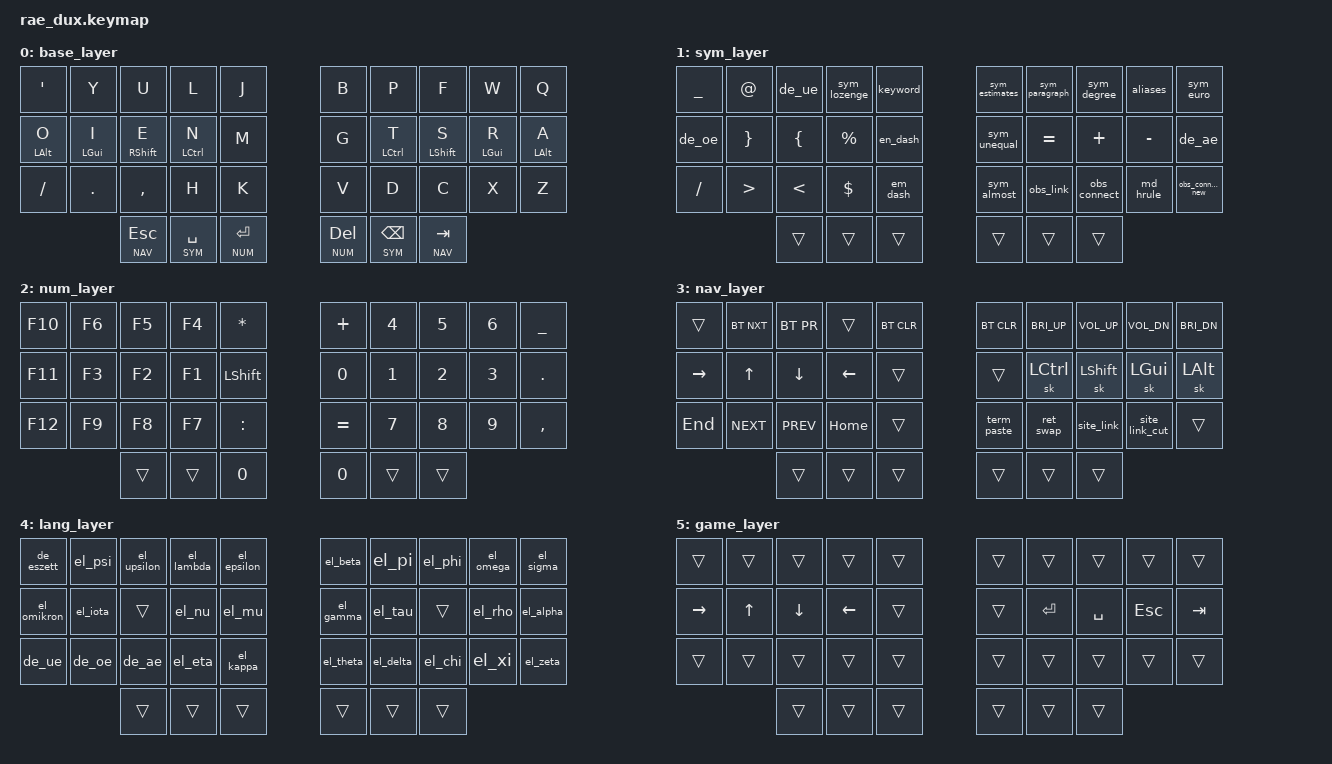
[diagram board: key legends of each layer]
/*
 * Copyright (c) 2021 The ZMK Contributors
 *
 * SPDX-License-Identifier: MIT
 */

#include <behaviors.dtsi>
#include <dt-bindings/zmk/bt.h>
#include <dt-bindings/zmk/keys.h>

#define HOST_OS 1
#include "../zmk-nodefree-config/helper.h"
#include "../zmk-nodefree-config/international_chars/greek.dtsi"
#include "../zmk-nodefree-config/international_chars/german.dtsi"

&sk {
    release-after-ms = <750>;
    quick-release;
};

&caps_word {
    continue-list = <UNDERSCORE MINUS BSPC>;
};

#define ___ &trans

#define BASE_L  0
#define SYM   1
#define NUM   2
#define NAV   3
#define LANG_L  4
#define GAME_L  5

#define KEYS_LEFT 9 8 7 6 5 19 18 17 16 15 29 28 27 26 25 // left hand - right
#define KEYS_RIGHT 4 3 2 1 0 14 13 12 11 10 24 23 22 21 20  // right hand - left
#define THUMBS 35 34 33 32 31 30                        // thumbs exchanged

ZMK_UNICODE_SINGLE(sym_lozenge, N2, N5, C, A)
ZMK_UNICODE_SINGLE(sym_estimates, N2, N2, N5, N9)
ZMK_UNICODE_SINGLE(sym_unequal, N2, N2, N6, N0)
ZMK_UNICODE_SINGLE(sym_almost, N2, N2, N4, N8)
ZMK_UNICODE_SINGLE(sym_euro, N2, N0, A, C)
ZMK_UNICODE_SINGLE(sym_paragraph, N0, N0, A, N7)
ZMK_UNICODE_SINGLE(sym_degree, N0, N0, B, N0)
ZMK_UNICODE_SINGLE(en_dash, N2, N0, N1, N3)
ZMK_UNICODE_SINGLE(em_dash, N2, N0, N1, N4)
ZMK_UNICODE_SINGLE(sym_precedes, N2, N2, N7, A)
ZMK_UNICODE_SINGLE(sym_succeeds, N2, N2, N7, B)

/ {
    macros {
        ZMK_MACRO(scope, wait-ms = <1>; tap-ms = <1>; bindings = <&kp COLON &kp COLON>;)
        ZMK_MACRO(keyword, wait-ms = <1>; tap-ms = <1>; bindings = <&kp HASH &kp COLON>;)
        ZMK_MACRO(site_link, wait-ms = <20>; tap-ms = <20>; bindings = <&kp LC(L) &kp LC(C) &kp LG(TAB) &kp LC(V) &kp LC(TAB)>;)
        ZMK_MACRO(site_link_cut, wait-ms = <20>; tap-ms = <20>; bindings = <&kp LC(L) &kp LC(C) &kp LC(W) &kp LG(TAB) &kp LC(V)>;)
        ZMK_MACRO(ret_swap, wait-ms = <20>; tap-ms = <20>; bindings = <&kp RET &kp LG(TAB)>;)
        ZMK_MACRO(term_paste, wait-ms = <1>; tap-ms = <1>; bindings = <&kp LC(LS(V))>;)
        ZMK_MACRO(obs_connect, wait-ms = <1>; tap-ms = <1>; bindings = <&kp MINUS &kp LT &kp GT &kp MINUS &kp SPC>;)
        ZMK_MACRO(obs_connect_new, wait-ms = <1>; tap-ms = <1>; bindings = <&sym_precedes &sym_succeeds>;)
        ZMK_MACRO(obs_link, wait-ms = <1>; tap-ms = <1>; bindings = <&kp LBKT &kp LBKT>;)
        ZMK_MACRO(md_hrule, wait-ms = <1>; tap-ms = <1>; bindings = <&kp MINUS &kp MINUS &kp MINUS>;)
        ZMK_MACRO(aliases, wait-ms = <1>; tap-ms = <1>; bindings = <&kp A &kp L &kp I &kp A &kp S &kp E &kp S &kp COLON>;)
    };

    combos {
        compatible = "zmk,combos";

        #define COMBO(NAME, BINDINGS, KEYPOS, TIMEOUT) \
              combo_##NAME { \
                timeout-ms = <TIMEOUT>; \
                bindings = <BINDINGS>; \
                key-positions = <KEYPOS>; \
              };

        /*                KEY POSITIONS

          ╭────────────────────╮ ╭────────────────────╮
          │  9   8   7   6   5 │ │  4   3   2   1   0 │
          │ 19  18  17  16  15 │ │ 14  13  12  11  10 │
          │ 29  28  27  26  25 │ │ 24  23  22  21  20 │
          ╰───────╮ 35  34  33 │ │ 32  31  30 ╭───────╯
                  ╰────────────╯ ╰────────────╯        */

        #define COMBO_TIME 20

        COMBO(excl, &kp EXCL, 1 11, COMBO_TIME)
        COMBO(grave, &kp GRAVE, 2 12, COMBO_TIME)
        COMBO(scope, &scope, 3 13, COMBO_TIME)
        COMBO(caret, &kp CARET, 4 14, COMBO_TIME)
        COMBO(lpar, &kp LPAR, 11 12, COMBO_TIME)
        /* COMBO(lbrc, &kp LBRC, 11 13, COMBO_TIME) */
        COMBO(lbkt, &kp LBKT, 12 13, COMBO_TIME)
        COMBO(lbrc, &kp LBRC, 13 14, COMBO_TIME)
        COMBO(bslash, &kp BSLH, 11 21, COMBO_TIME)
        COMBO(pipe, &kp PIPE, 12 22, COMBO_TIME)
        COMBO(underscore, &kp UNDER, 13 23, COMBO_TIME)
        COMBO(tilde, &kp TILDE, 14 24, COMBO_TIME)
        COMBO(equal, &kp EQUAL, 21 22, COMBO_TIME)
        /* COMBO(tab, &kp TAB, 22 23, COMBO_TIME) */

        COMBO(switch_lang, &sl LANG_L, 21 23, COMBO_TIME)
        COMBO(toggle_game_layer, &tog GAME_L, 20 23, COMBO_TIME)

        COMBO(dollar, &kp DLLR, 5 15, COMBO_TIME)
        COMBO(hash, &kp HASH, 6 16, COMBO_TIME)
        COMBO(semicolon, &kp SEMI, 7 17, COMBO_TIME)
        COMBO(at, &kp AT, 8 18, COMBO_TIME)
        COMBO(rbrc, &kp RBRC, 15 16, COMBO_TIME)
        COMBO(rbkt, &kp RBKT, 16 17, COMBO_TIME)
        /* COMBO(rbrc, &kp RBRC, 16 18, COMBO_TIME) */
        COMBO(rpar, &kp RPAR, 17 18, COMBO_TIME)
        COMBO(ampersand, &kp AMPS, 15 25, COMBO_TIME)
        COMBO(minus, &kp MINUS, 16 26, COMBO_TIME)
        COMBO(star, &kp STAR, 17 27, COMBO_TIME)
        COMBO(plus, &kp PLUS, 18 28, COMBO_TIME)
        /* COMBO(minus, &kp MINUS, 26 27, COMBO_TIME) */
        COMBO(caps_word, &caps_word, 26 28, COMBO_TIME)
        COMBO(colon, &kp COLON, 27 28, COMBO_TIME)

    };

    behaviors {
        lhm: left_hand_positional_hold_tap {
            compatible = "zmk,behavior-hold-tap";
            label = "LEFT_POSITIONAL_HOLD_TAP";
            #binding-cells = <2>;
            flavor = "balanced";
            tapping-term-ms = <230>;
            quick-tap-ms = <100>;
            global-quick-tap;
            bindings = <&kp>, <&kp>;
            hold-trigger-key-positions = <KEYS_RIGHT THUMBS>;
        };

        rhm: right_hand_positional_hold_tap {
            compatible = "zmk,behavior-hold-tap";
            label = "RIGHT_POSITIONAL_HOLD_TAP";
            #binding-cells = <2>;
            flavor = "balanced";
            tapping-term-ms = <230>;
            quick-tap-ms = <100>;
            global-quick-tap;
            bindings = <&kp>, <&kp>;
            hold-trigger-key-positions = <KEYS_LEFT THUMBS>;
        };
    };

    keymap {
        compatible = "zmk,keymap";

        base_layer {
            bindings = <
                // ╭─────────────┬─────────────┬─────────────┬─────────────┬─────────────╮╭─────────────┬─────────────┬─────────────┬─────────────┬─────────────╮
                     &kp APOS      &kp Y         &kp U         &kp L         &kp J          &kp B         &kp P         &kp F         &kp W         &kp Q
                // ├─────────────┼─────────────┼─────────────┼─────────────┼─────────────┤├─────────────┼─────────────┼─────────────┼─────────────┼─────────────┤
                     &lhm LALT O   &lhm LGUI I   &lhm RSHFT E  &lhm LCTRL N  &kp M          &kp G         &rhm LCTRL T  &rhm LSHFT S  &rhm LGUI R   &rhm LALT A
                // ├─────────────┼─────────────┼─────────────┼─────────────┼─────────────┤├─────────────┼─────────────┼─────────────┼─────────────┼─────────────┤
                     &kp FSLH      &kp DOT       &kp COMMA     &kp H         &kp K          &kp V         &kp D         &kp C         &kp X         &kp Z
                // ╰─────────────┼─────────────┴─────────────┼─────────────┼─────────────┤├─────────────┼─────────────┼─────────────┴───────────────────────────╯
                /*&            &*/              &lt NAV ESC    &lt SYM SPC   &lt NUM RET    &lt NUM DEL   &lt SYM BSPC  &lt NAV TAB  /*&             &*/
                //                             ╰─────────────┴─────────────┴─────────────╯╰─────────────┴─────────────┴─────────────╯
            >;
        };

        sym_layer {
            bindings = <
                // ╭─────────────┬─────────────┬─────────────┬─────────────┬─────────────╮╭─────────────┬─────────────┬─────────────┬─────────────┬─────────────╮
                    &kp UNDER     &kp AT        &de_ue        &sym_lozenge  &keyword       &sym_estimates &sym_paragraph &sym_degree  &aliases      &sym_euro
                // ├─────────────┼─────────────┼─────────────┼─────────────┼─────────────┤├─────────────┼─────────────┼─────────────┼─────────────┼─────────────┤
                    &de_oe        &kp RBRC      &kp LBRC      &kp PRCNT     &en_dash       &sym_unequal   &kp EQUAL     &kp PLUS      &kp MINUS     &de_ae
                // ├─────────────┼─────────────┼─────────────┼─────────────┼─────────────┤├─────────────┼─────────────┼─────────────┼─────────────┼─────────────┤
                    &kp FSLH      &kp GT        &kp LT        &kp DLLR      &em_dash       &sym_almost    &obs_link     &obs_connect  &md_hrule     &obs_connect_new
                // ╰─────────────┼─────────────┴─────────────┼─────────────┼─────────────┤├─────────────┼─────────────┼─────────────┴───────────────────────────╯
                /*&            &*/               ___           ___           ___            ___           ___           ___          /*&             &*/
                //                             ╰─────────────┴─────────────┴─────────────╯╰─────────────┴─────────────┴─────────────╯
            >;
        };

        num_layer {
            bindings = <
                // ╭─────────────┬─────────────┬─────────────┬─────────────┬─────────────╮╭─────────────┬─────────────┬─────────────┬─────────────┬─────────────╮
                     &kp F10      &kp F6        &kp F5        &kp F4         &kp STAR       &kp PLUS      &kp N4        &kp N5        &kp N6        &kp UNDER
                // ├─────────────┼─────────────┼─────────────┼─────────────┼─────────────┤├─────────────┼─────────────┼─────────────┼─────────────┼─────────────┤
                     &kp F11       &kp F3        &kp F2        &kp F1        &kp LSHIFT     &kp N0        &kp N1        &kp N2        &kp N3        &kp DOT
                // ├─────────────┼─────────────┼─────────────┼─────────────┼─────────────┤├─────────────┼─────────────┼─────────────┼─────────────┼─────────────┤
                     &kp F12       &kp F9        &kp F8        &kp F7        &kp COLON      &kp EQUAL     &kp N7        &kp N8        &kp N9        &kp COMMA
                // ╰─────────────┼─────────────┴─────────────┼─────────────┼─────────────┤├─────────────┼─────────────┼─────────────┴───────────────────────────╯
                /*&            &*/               ___           ___           &kp N0         &kp N0        ___           ___          /*&             &*/
                //                             ╰─────────────┴─────────────┴─────────────╯╰─────────────┴─────────────┴─────────────╯
            >;
        };

        nav_layer {
            bindings = <
                // ╭─────────────┬─────────────┬─────────────┬─────────────┬─────────────╮╭─────────────┬─────────────┬─────────────┬─────────────┬─────────────╮
                     ___          &bt BT_NXT    &bt BT_PR     ___           &bt BT_CLR     &bt BT_CLR    &kp C_BRI_UP   &kp C_VOL_UP &kp C_VOL_DN  &kp C_BRI_DN
                // ├─────────────┼─────────────┼─────────────┼─────────────┼─────────────┤├─────────────┼─────────────┼─────────────┼─────────────┼─────────────┤
                    &kp RIGHT      &kp UP       &kp DOWN      &kp LEFT      ___            ___           &sk LCTRL      &sk LSHFT      &sk LGUI        &sk LALT
                // ├─────────────┼─────────────┼─────────────┼─────────────┼─────────────┤├─────────────┼─────────────┼─────────────┼─────────────┼─────────────┤
                    &kp END        &kp K_NEXT   &kp K_PREV    &kp HOME      ___            &term_paste   &ret_swap      &site_link     &site_link_cut ___
                // ╰─────────────┼─────────────┴─────────────┼─────────────┼─────────────┤├─────────────┼─────────────┼─────────────┴───────────────────────────╯
                /*&            &*/               ___           ___           ___            ___           ___           ___          /*&             &*/
                //                             ╰─────────────┴─────────────┴─────────────╯╰─────────────┴─────────────┴─────────────╯
            >;
        };

        lang_layer {
            bindings = <
                // ╭─────────────┬─────────────┬─────────────┬─────────────┬─────────────╮╭─────────────┬─────────────┬─────────────┬─────────────┬─────────────╮
                    &de_eszett     &el_psi      &el_upsilon   &el_lambda    &el_epsilon     &el_beta      &el_pi       &el_phi        &el_omega     &el_sigma
                // ├─────────────┼─────────────┼─────────────┼─────────────┼─────────────┤├─────────────┼─────────────┼─────────────┼─────────────┼─────────────┤
                    &el_omikron     &el_iota       ___        &el_nu        &el_mu          &el_gamma     &el_tau        ___          &el_rho      &el_alpha
                // ├─────────────┼─────────────┼─────────────┼─────────────┼─────────────┤├─────────────┼─────────────┼─────────────┼─────────────┼─────────────┤
                    &de_ue         &de_oe        &de_ae       &el_eta       &el_kappa       &el_theta     &el_delta     &el_chi       &el_xi       &el_zeta
                // ╰─────────────┼─────────────┴─────────────┼─────────────┼─────────────┤├─────────────┼─────────────┼─────────────┴───────────────────────────╯
                                                 ___           ___           ___            ___           ___           ___
                //                             ╰─────────────┴─────────────┴─────────────╯╰─────────────┴─────────────┴─────────────╯
            >;
        };

        game_layer {
            bindings = <
                // ╭─────────────┬─────────────┬─────────────┬─────────────┬─────────────╮╭─────────────┬─────────────┬─────────────┬─────────────┬─────────────╮
                    ___           ___           ___           ___           ___            ___           ___           ___           ___           ___
                // ├─────────────┼─────────────┼─────────────┼─────────────┼─────────────┤├─────────────┼─────────────┼─────────────┼─────────────┼─────────────┤
                     &kp RIGHT     &kp UP        &kp DOWN      &kp LEFT      ___            ___           &kp RET       &kp SPC       &kp ESC       &kp TAB
                // ├─────────────┼─────────────┼─────────────┼─────────────┼─────────────┤├─────────────┼─────────────┼─────────────┼─────────────┼─────────────┤
                    ___            ___           ___           ___           ___            ___           ___           ___           ___           ___
                // ╰─────────────┼─────────────┼─────────────┼─────────────┼─────────────┤├─────────────┼─────────────┼─────────────┼─────────────┼─────────────┤
                                                 ___           ___           ___            ___           ___           ___
                //                             ╰─────────────┴─────────────┴─────────────╯╰─────────────┴─────────────┴─────────────╯
            >;
        };
    };
};
